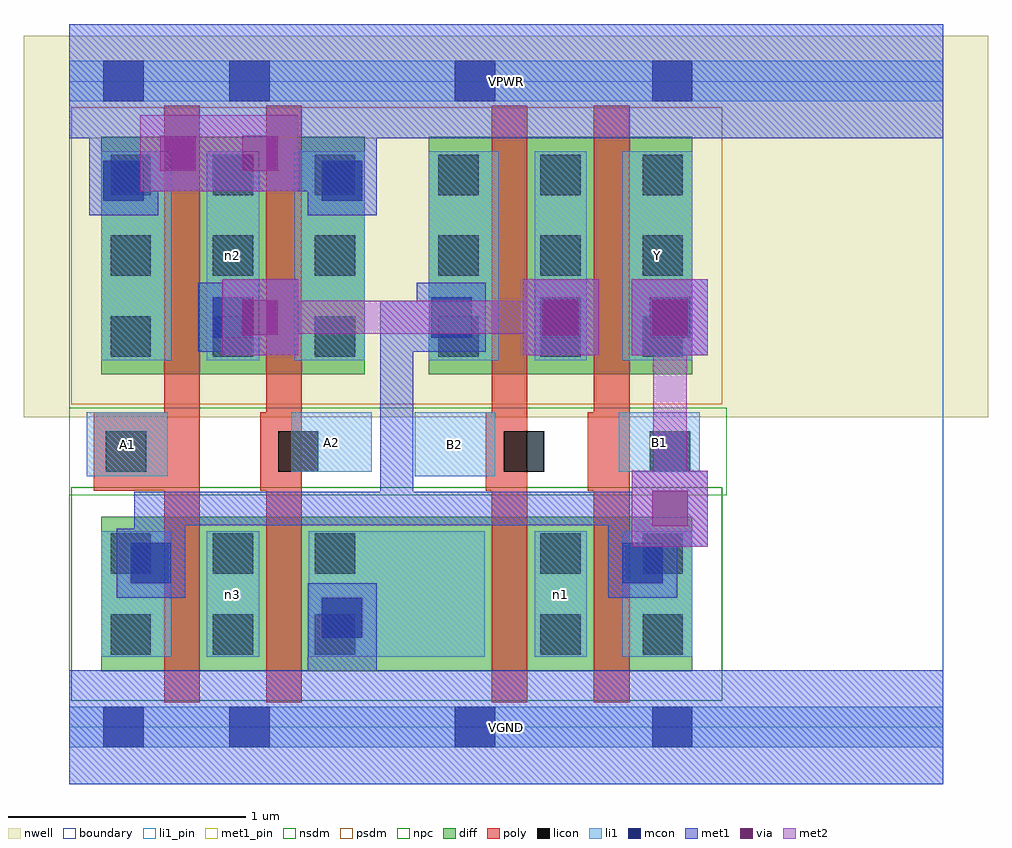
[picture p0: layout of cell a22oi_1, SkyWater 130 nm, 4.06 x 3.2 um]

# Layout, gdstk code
import gdstk
lib = gdstk.Library(unit=1e-6, precision=1e-09)
def R(c, l, rs):  # rectangles x0, y0, x1, y1
    for r in rs: c.add(gdstk.rectangle(r[:2], r[2:], *l))
def A(c, l, x, y, w, h, nx, ny, dx, dy):  # array of equal rectangles
    R(c, l, [(x+i*dx, y+j*dy, x+i*dx+w, y+j*dy+h) for i in range(nx) for j in range(ny)])
nwell = (64, 20)
diff = (65, 20)
poly = (66, 20)
licon = (66, 44)
li1_pin = (67, 16)
li1 = (67, 20)
mcon = (67, 44)
met1_pin = (68, 16)
met1 = (68, 20)
via = (68, 44)
met2 = (69, 20)
nsdm = (93, 44)
psdm = (94, 20)
npc = (95, 20)
boundary = (235, 4)

a22oi_1 = lib.new_cell('a22oi_1')
R(a22oi_1, nwell, [(-0.19,1.305,3.87,2.91), (0,1.305,3.68,2.91)])
R(a22oi_1, diff, [(0.135,0.235,2.625,0.885), (0.135,1.485,1.245,2.485), (1.515,1.485,2.625,2.485)])
R(a22oi_1, poly, [(0.4,0.105,0.55,2.615), (0.83,0.105,0.98,2.615), (1.78,0.105,1.93,2.615), (2.21,0.105,2.36,2.615), (0.105,0.995,0.55,1.325), (0.805,0.995,0.98,1.325), (1.755,0.995,1.93,1.325), (2.185,0.995,2.36,1.325)])
A(a22oi_1, licon, 0.175, 0.305, 0.17, 0.17, 3, 2, 0.43, 0.34)
A(a22oi_1, licon, 0.175, 1.56, 0.17, 0.17, 3, 3, 0.43, 0.34)
A(a22oi_1, licon, 1.555, 1.56, 0.17, 0.17, 3, 3, 0.43, 0.34)
R(a22oi_1, licon, [(1.985,0.305,2.155,0.475), (2.415,0.305,2.585,0.475), (1.985,0.645,2.155,0.815), (2.415,0.645,2.585,0.815), (0.155,1.075,0.325,1.245), (0.88,1.075,1.05,1.245), (1.83,1.075,2,1.245), (2.445,1.075,2.615,1.245)])
R(a22oi_1, li1_pin, [(0.075,1.055,0.415,1.325), (1.455,1.055,1.795,1.325), (0.935,1.075,1.275,1.325), (2.315,1.075,2.655,1.325), (2.33,1.545,2.625,2.425)])
R(a22oi_1, li1, [(0,-0.085,3.68,0.085), (0.135,0.295,0.43,0.825), (0.58,0.295,0.8,0.825), (1.01,0.295,1.75,0.825), (1.96,0.295,2.18,0.825), (2.33,0.295,2.625,0.825), (0.075,1.055,0.415,1.325), (1.455,1.055,1.795,1.325), (0.935,1.075,1.275,1.325), (2.315,1.075,2.655,1.325), (0.135,1.545,0.43,2.425), (0.58,1.545,0.8,2.425), (0.95,1.545,1.245,2.425), (1.515,1.545,1.81,2.425), (1.96,1.545,2.18,2.425), (2.33,1.545,2.625,2.425), (0,2.635,3.68,2.805)])
A(a22oi_1, mcon, 1.525, 1.64, 0.17, 0.17, 3, 1, 0.46, 0)
R(a22oi_1, mcon, [(0.145,-0.085,0.315,0.085), (0.675,-0.085,0.845,0.085), (1.625,-0.085,1.795,0.085), (2.455,-0.085,2.625,0.085), (1.065,0.375,1.235,0.545), (0.26,0.605,0.43,0.775), (2.33,0.605,2.5,0.775), (0.605,1.64,0.775,1.81), (0.145,2.215,0.315,2.385), (1.065,2.215,1.235,2.385), (0.145,2.635,0.315,2.805), (0.675,2.635,0.845,2.805), (1.625,2.635,1.795,2.805), (2.455,2.635,2.625,2.805)])
R(a22oi_1, met1_pin, [(0,-0.24,3.68,0.24), (0,2.48,3.68,2.96)])
A(a22oi_1, met1, 1.465, 1.58, 0.29, 0.29, 3, 1, 0.46, 0)
R(a22oi_1, met1, [(0,-0.24,3.68,0.24), (1.08,0.045,1.22,0.185), (1.08,0.045,1.22,0.53), (1.005,0.24,1.295,0.315), (1.005,0.315,1.295,0.605), (0.2,0.545,0.49,0.835), (2.27,0.545,2.56,0.835), (0.275,0.62,0.415,0.99), (2.345,0.62,2.485,0.99), (2.37,0.76,2.69,1.08), (0.275,0.835,0.49,0.85), (2.27,0.835,2.485,0.85), (2.345,0.835,2.56,0.85), (0.275,0.85,1.45,0.99), (1.31,0.85,2.485,0.99), (1.31,0.85,1.45,1.795), (2.345,0.85,2.6,0.99), (0.645,1.565,0.965,1.885), (1.91,1.565,2.23,1.885), (2.37,1.565,2.69,1.885), (0.545,1.58,0.835,1.87), (1.45,1.58,1.465,1.795), (0.62,1.655,0.875,1.795), (1.31,1.655,1.68,1.795), (0.085,2.155,0.375,2.445), (1.005,2.155,1.295,2.445), (0.16,2.23,0.3,2.715), (1.08,2.23,1.22,2.485), (0.3,2.255,0.62,2.575), (0.62,2.255,0.645,2.575), (0.645,2.255,0.965,2.575), (0.965,2.255,1.005,2.445), (0.965,2.255,1.08,2.485), (0.16,2.345,0.53,2.485), (0.53,2.345,0.645,2.485), (0.62,2.345,0.735,2.485), (0.735,2.345,1.22,2.485), (0.085,2.445,0.375,2.48), (1.005,2.445,1.295,2.48), (0,2.48,3.68,2.96), (0.16,2.575,0.3,2.715)])
R(a22oi_1, via, [(2.455,0.845,2.605,0.995), (0.73,1.65,0.88,1.8), (1.995,1.65,2.145,1.8), (2.455,1.65,2.605,1.8), (0.385,2.34,0.535,2.49), (0.73,2.34,0.88,2.49)])
R(a22oi_1, met2, [(2.37,0.76,2.69,1.08), (2.46,0.85,2.6,1.795), (0.645,1.565,0.965,1.885), (1.91,1.565,2.23,1.885), (2.37,1.565,2.69,1.885), (0.735,1.655,2.14,1.795), (0.3,2.255,0.62,2.575), (0.62,2.255,0.645,2.575), (0.645,2.255,0.965,2.575), (0.39,2.345,0.875,2.485)])
R(a22oi_1, nsdm, [(0.01,0.11,2.75,1.01)])
R(a22oi_1, psdm, [(0.01,1.36,2.75,2.61)])
R(a22oi_1, npc, [(0,0.975,2.77,1.345)])
R(a22oi_1, boundary, [(0,0,3.68,2.72)])
a22oi_1.add(gdstk.Label('A1', (0.245,1.19), layer=67, texttype=5))
a22oi_1.add(gdstk.Label('A2', (1.105,1.2), layer=67, texttype=5))
a22oi_1.add(gdstk.Label('B1', (2.485,1.2), layer=67, texttype=5))
a22oi_1.add(gdstk.Label('B2', (1.625,1.19), layer=67, texttype=5))
a22oi_1.add(gdstk.Label('Y', (2.477,1.985), layer=67, texttype=5))
a22oi_1.add(gdstk.Label('n3', (0.69,0.56), layer=67, texttype=5))
a22oi_1.add(gdstk.Label('n1', (2.07,0.56), layer=67, texttype=5))
a22oi_1.add(gdstk.Label('n2', (0.69,1.985), layer=67, texttype=5))
a22oi_1.add(gdstk.Label('VPWR', (1.84,2.72), layer=68, texttype=5))
a22oi_1.add(gdstk.Label('VGND', (1.84,0), layer=68, texttype=5))
a22oi_1.add(gdstk.Label('A1', (0.245,1.19), layer=67, texttype=16))
a22oi_1.add(gdstk.Label('A2', (1.105,1.2), layer=67, texttype=16))
a22oi_1.add(gdstk.Label('B1', (2.485,1.2), layer=67, texttype=16))
a22oi_1.add(gdstk.Label('B2', (1.625,1.19), layer=67, texttype=16))
a22oi_1.add(gdstk.Label('Y', (2.477,1.985), layer=67, texttype=16))
a22oi_1.add(gdstk.Label('VPWR', (1.84,2.72), layer=68, texttype=16))
a22oi_1.add(gdstk.Label('VGND', (1.84,0), layer=68, texttype=16))

lib.write_gds('a22oi_1.gds')
